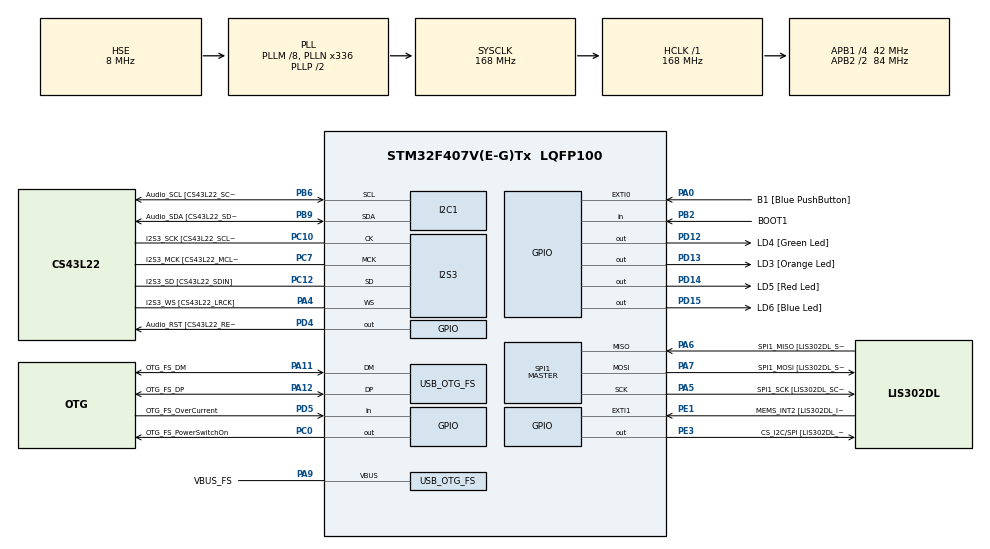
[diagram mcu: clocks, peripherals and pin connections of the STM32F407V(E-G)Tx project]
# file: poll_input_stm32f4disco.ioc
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I2S3.AudioFreq-Half_Duplex_Master=I2S_AUDIOFREQ_96K
I2S3.ErrorAudioFreq=-2.34 %
I2S3.ErrorAudioFreq-Half_Duplex_Master=0.8 %
I2S3.FullDuplexMode=I2S_FULLDUPLEXMODE_DISABLE
I2S3.Instance=SPI$Index
I2S3.RealAudioFreq=93.75 KHz
I2S3.RealAudioFreq-Half_Duplex_Master=96.774 KHz
I2S3.VirtualMode=I2S_MODE_MASTER
Mcu.Family=STM32F4
Mcu.Name=STM32F407V(E-G)Tx
Mcu.Package=LQFP100
NVIC.OTG_FS_IRQn=true\:0\:0\:false\:false\:true\:true\:true
NVIC.PriorityGroup=NVIC_PRIORITYGROUP_0
PA0-WKUP.GPIO_Label=B1 [Blue PushButton]
PA0-WKUP.GPIO_ModeDefaultEXTI=GPIO_MODE_EVT_RISING
PA0-WKUP.GPIO_PuPd=GPIO_NOPULL
PA0-WKUP.Signal=GPXTI0
PA10.GPIO_Label=OTG_FS_ID
PA10.GPIO_Mode=GPIO_MODE_AF_PP
PA10.GPIO_PuPd=GPIO_NOPULL
PA10.GPIO_Speed=GPIO_SPEED_FREQ_LOW
PA10.Signal=USB_OTG_FS_ID
PA11.GPIO_Label=OTG_FS_DM
PA11.GPIO_Mode=GPIO_MODE_AF_PP
PA11.GPIO_PuPd=GPIO_NOPULL
PA11.GPIO_Speed=GPIO_SPEED_FREQ_LOW
PA11.Mode=Host_Only
PA11.Signal=USB_OTG_FS_DM
PA12.GPIO_Label=OTG_FS_DP
PA12.GPIO_Mode=GPIO_MODE_AF_PP
PA12.GPIO_PuPd=GPIO_NOPULL
PA12.GPIO_Speed=GPIO_SPEED_FREQ_LOW
PA12.Mode=Host_Only
PA12.Signal=USB_OTG_FS_DP
PA13.GPIO_Label=SWDIO
PA13.Mode=Serial_Wire
PA13.Signal=SYS_JTMS-SWDIO
PA14.GPIO_Label=SWCLK
PA14.Mode=Serial_Wire
PA14.Signal=SYS_JTCK-SWCLK
PA4.GPIO_Label=I2S3_WS [CS43L22_LRCK]
PA4.GPIO_Mode=GPIO_MODE_AF_PP
PA4.GPIO_PuPd=GPIO_NOPULL
PA4.GPIO_Speed=GPIO_SPEED_FREQ_LOW
PA4.Mode=Half_Duplex_Master
PA4.Signal=I2S3_WS
PA5.GPIO_Label=SPI1_SCK [LIS302DL_SCL/SPC]
PA5.GPIO_Mode=GPIO_MODE_AF_PP
PA5.GPIO_PuPd=GPIO_NOPULL
PA5.GPIO_Speed=GPIO_SPEED_FREQ_LOW
PA5.Mode=Full_Duplex_Master
PA5.Signal=SPI1_SCK
PA6.GPIO_Label=SPI1_MISO [LIS302DL_SDO]
PA6.GPIO_Mode=GPIO_MODE_AF_PP
PA6.GPIO_PuPd=GPIO_NOPULL
PA6.GPIO_Speed=GPIO_SPEED_FREQ_LOW
PA6.Mode=Full_Duplex_Master
PA6.Signal=SPI1_MISO
PA7.GPIO_Label=SPI1_MOSI [LIS302DL_SDA/SDI/SDO]
PA7.GPIO_Mode=GPIO_MODE_AF_PP
PA7.GPIO_PuPd=GPIO_NOPULL
PA7.GPIO_Speed=GPIO_SPEED_FREQ_LOW
PA7.Mode=Full_Duplex_Master
PA7.Signal=SPI1_MOSI
PA9.GPIO_Label=VBUS_FS
PA9.GPIO_Mode=GPIO_MODE_INPUT
PA9.GPIO_PuPd=GPIO_NOPULL
PA9.Mode=Activate_VBUS
PA9.Signal=USB_OTG_FS_VBUS
PB10.GPIO_Label=CLK_IN [MP45DT02_CLK]
PB10.GPIO_Mode=GPIO_MODE_AF_PP
PB10.GPIO_PuPd=GPIO_NOPULL
PB10.GPIO_Speed=GPIO_SPEED_FREQ_LOW
PB10.Signal=I2S2_CK
PB2.GPIO_Label=BOOT1
PB2.GPIO_Mode=GPIO_MODE_INPUT
PB2.GPIO_PuPd=GPIO_NOPULL
PB2.Signal=GPIO_Input
PB3.GPIO_Label=SWO
PB3.Signal=SYS_JTDO-SWO
PB6.GPIO_Label=Audio_SCL [CS43L22_SCL]
PB6.GPIO_Mode=GPIO_MODE_AF_OD
PB6.GPIO_Pu=GPIO_PULLUP
PB6.GPIO_PuPd=GPIO_NOPULL
PB6.GPIO_Speed=GPIO_SPEED_FREQ_LOW
PB6.Mode=I2C
PB6.Signal=I2C1_SCL
PB9.GPIO_Label=Audio_SDA [CS43L22_SDA]
PB9.GPIO_Mode=GPIO_MODE_AF_OD
PB9.GPIO_Pu=GPIO_PULLUP
PB9.GPIO_PuPd=GPIO_NOPULL
PB9.GPIO_Speed=GPIO_SPEED_FREQ_LOW
PB9.Mode=I2C
PB9.Signal=I2C1_SDA
PC0.GPIO_Label=OTG_FS_PowerSwitchOn
PC0.GPIO_PuPd=GPIO_NOPULL
PC0.GPIO_Speed=GPIO_SPEED_FREQ_LOW
PC0.PinState=GPIO_PIN_SET
PC0.Signal=GPIO_Output
PC10.GPIO_Label=I2S3_SCK [CS43L22_SCLK]
PC10.GPIO_Mode=GPIO_MODE_AF_PP
PC10.GPIO_PuPd=GPIO_NOPULL
PC10.GPIO_Speed=GPIO_SPEED_FREQ_LOW
PC10.Mode=Half_Duplex_Master
PC10.Signal=I2S3_CK
PC12.GPIO_Label=I2S3_SD [CS43L22_SDIN]
PC12.GPIO_Mode=GPIO_MODE_AF_PP
PC12.GPIO_PuPd=GPIO_NOPULL
PC12.GPIO_Speed=GPIO_SPEED_FREQ_LOW
PC12.Mode=Half_Duplex_Master
PC12.Signal=I2S3_SD
PC14-OSC32_IN.GPIO_Label=PC14-OSC32_IN
PC14-OSC32_IN.Mode=LSE-External-Oscillator
PC14-OSC32_IN.Signal=RCC_OSC32_IN
PC15-OSC32_OUT.GPIO_Label=PC15-OSC32_OUT
PC15-OSC32_OUT.Mode=LSE-External-Oscillator
PC15-OSC32_OUT.Signal=RCC_OSC32_OUT
PC3.GPIO_Label=PDM_OUT [MP45DT02_DOUT]
PC3.GPIO_Mode=GPIO_MODE_AF_PP
PC3.GPIO_PuPd=GPIO_NOPULL
PC3.GPIO_Speed=GPIO_SPEED_FREQ_LOW
PC3.Signal=I2S2_SD
PC7.GPIO_Label=I2S3_MCK [CS43L22_MCLK]
PC7.GPIO_Mode=GPIO_MODE_AF_PP
PC7.GPIO_PuPd=GPIO_NOPULL
PC7.GPIO_Speed=GPIO_SPEED_FREQ_LOW
PC7.Mode=Master_Clock_Activated
PC7.Signal=I2S3_MCK
PD12.GPIO_Label=LD4 [Green Led]
PD12.GPIO_PuPd=GPIO_NOPULL
PD12.GPIO_Speed=GPIO_SPEED_FREQ_LOW
PD12.Signal=GPIO_Output
PD13.GPIO_Label=LD3 [Orange Led]
PD13.GPIO_PuPd=GPIO_NOPULL
PD13.GPIO_Speed=GPIO_SPEED_FREQ_LOW
PD13.Signal=GPIO_Output
PD14.GPIO_Label=LD5 [Red Led]
PD14.GPIO_PuPd=GPIO_NOPULL
PD14.GPIO_Speed=GPIO_SPEED_FREQ_LOW
PD14.Signal=GPIO_Output
PD15.GPIO_Label=LD6 [Blue Led]
PD15.GPIO_PuPd=GPIO_NOPULL
PD15.GPIO_Speed=GPIO_SPEED_FREQ_LOW
PD15.Signal=GPIO_Output
PD4.GPIO_Label=Audio_RST [CS43L22_RESET]
PD4.GPIO_PuPd=GPIO_NOPULL
PD4.GPIO_Speed=GPIO_SPEED_FREQ_LOW
PD4.Signal=GPIO_Output
PD5.GPIO_Label=OTG_FS_OverCurrent
PD5.GPIO_Mode=GPIO_MODE_INPUT
PD5.GPIO_PuPd=GPIO_NOPULL
PD5.Signal=GPIO_Input
PE1.GPIO_Label=MEMS_INT2 [LIS302DL_INT2]
PE1.GPIO_ModeDefaultEXTI=GPIO_MODE_EVT_RISING
PE1.GPIO_PuPd=GPIO_NOPULL
PE1.Signal=GPXTI1
PE3.GPIO_Label=CS_I2C/SPI [LIS302DL_CS_I2C/SPI]
PE3.GPIO_PuPd=GPIO_NOPULL
PE3.GPIO_Speed=GPIO_SPEED_FREQ_LOW
PE3.Signal=GPIO_Output
PH0-OSC_IN.GPIO_Label=PH0-OSC_IN
PH0-OSC_IN.Mode=HSE-External-Oscillator
PH0-OSC_IN.Signal=RCC_OSC_IN
PH1-OSC_OUT.GPIO_Label=PH1-OSC_OUT
PH1-OSC_OUT.Mode=HSE-External-Oscillator
PH1-OSC_OUT.Signal=RCC_OSC_OUT
ProjectManager.HeapSize=0x200
ProjectManager.StackSize=0x400
ProjectManager.TargetToolchain=STM32CubeIDE
RCC.48MHZClocksFreq_Value=48000000
RCC.AHBFreq_Value=168000000
RCC.APB1CLKDivider=RCC_HCLK_DIV4
RCC.APB1Freq_Value=42000000
RCC.APB1TimFreq_Value=84000000
RCC.APB2CLKDivider=RCC_HCLK_DIV2
RCC.APB2Freq_Value=84000000
RCC.APB2TimFreq_Value=168000000
RCC.CortexFreq_Value=168000000
RCC.HCLKFreq_Value=168000000
RCC.HSE_VALUE=8000000
RCC.HSI_VALUE=16000000
RCC.PLLM=8
RCC.PLLN=336
RCC.PLLQ=7
RCC.SYSCLKFreq_VALUE=168000000
RCC.SYSCLKSource=RCC_SYSCLKSOURCE_PLLCLK
RCC.VCOOutputFreq_Value=336000000
SPI1.BaudRatePrescaler-Full_Duplex_Master=SPI_BAUDRATEPRESCALER_2
SPI1.CalculateBaudRate-Full_Duplex_Master=42.0 MBits/s
SPI1.Direction=SPI_DIRECTION_2LINES
SPI1.Mode=SPI_MODE_MASTER
SPI1.Mode-Full_Duplex_Master=SPI_MODE_MASTER
SPI1.VirtualType=VM_MASTER
USB_HOST.BSP.number=1
USB_HOST.USBH_HandleTypeDef-CDC_FS=hUsbHostFS
USB_HOST.VirtualModeFS=Cdc
USB_HOST0.BSP.STBoard=false
USB_HOST0.BSP.api=Unknown
USB_HOST0.BSP.i2caddr=0
USB_HOST0.BSP.i2creg=0
USB_HOST0.BSP.instance=PC0
USB_HOST0.BSP.ip=GPIO
USB_HOST0.BSP.mode=Output
USB_HOST0.BSP.name=Drive_VBUS_FS
USB_HOST0.BSP.solution=PC0
USB_OTG_FS.VirtualMode=Host_Only
USB_OTG_FS.phy_itface=HCD_PHY_EMBEDDED
VP_USB_HOST_VS_USB_HOST_CDC_FS.Mode=CDC_FS
board=STM32F407G-DISC1

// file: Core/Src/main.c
/* USER CODE BEGIN Header */
/**
  ******************************************************************************
  * @file           : main.c
  * @brief          : Main program body
  ******************************************************************************
  * @attention
  *
  * Copyright (c) 2021 STMicroelectronics.
  * All rights reserved.
  *
  * This software is licensed under terms that can be found in the LICENSE file
  * in the root directory of this software component.
  * If no LICENSE file comes with this software, it is provided AS-IS.
  *
  ******************************************************************************
  */
/* USER CODE END Header */
#include "main.h"
#include "usb_host.h"
#include "stm32f4_discovery.h"
#include "systick_timer.h"

I2C_HandleTypeDef hi2c1;

I2S_HandleTypeDef hi2s3;

SPI_HandleTypeDef hspi1;

void SystemClock_Config(void);
static void MX_GPIO_Init(void);
static void MX_I2C1_Init(void);
static void MX_I2S3_Init(void);
static void MX_SPI1_Init(void);
void MX_USB_HOST_Process(void);

/* USER CODE BEGIN 0 */
SYSTick_Timer_t  timer_1 , timer_2;
/* USER CODE END 0 */

int main(void)
{

  /* MCU Configuration--------------------------------------------------------*/

  /* Reset of all peripherals, Initializes the Flash interface and the Systick. */
  HAL_Init();

  /* Configure the system clock */
  SystemClock_Config();

  /* Initialize all configured peripherals */
  MX_GPIO_Init();
  MX_I2C1_Init();
  MX_I2S3_Init();
  MX_SPI1_Init();
  MX_USB_HOST_Init();

  /* Infinite loop */
  /* USER CODE BEGIN WHILE */
  BSP_LED_Init(LED4);
  BSP_LED_Init(LED3);
  BSP_LED_Init(LED5);
  BSP_LED_Init(LED6);
  BSP_PB_Init(BUTTON_KEY, BUTTON_MODE_GPIO);
  start_systick_timer(&timer_1, 500);
  start_systick_timer(&timer_2, 100);
  while (1)
  {
    if(Timer_Expired == get_systick_timer(&timer_1))
    {
      BSP_LED_Toggle(LED4);
      start_systick_timer(&timer_1, 500);
    }
    if(Timer_Expired == get_systick_timer(&timer_2))
    {
      BSP_LED_Toggle(LED5);
      start_systick_timer(&timer_2, 700);
    }
    if(BSP_PB_GetState(BUTTON_KEY))
    { // BUTTON_KEY pressed
      BSP_LED_On(LED6);
    }
    else
    { // BUTTON_KEY released
      BSP_LED_Off(LED6);
    }
    /* USER CODE END WHILE */
    MX_USB_HOST_Process();

  }
}

void SystemClock_Config(void)
{
  RCC_OscInitTypeDef RCC_OscInitStruct = {0};
  RCC_ClkInitTypeDef RCC_ClkInitStruct = {0};

  /** Configure the main internal regulator output voltage
  */
  __HAL_RCC_PWR_CLK_ENABLE();
  __HAL_PWR_VOLTAGESCALING_CONFIG(PWR_REGULATOR_VOLTAGE_SCALE1);
  /** Initializes the RCC Oscillators according to the specified parameters
  * in the RCC_OscInitTypeDef structure.
  */
  RCC_OscInitStruct.OscillatorType = RCC_OSCILLATORTYPE_HSE;
  RCC_OscInitStruct.HSEState = RCC_HSE_ON;
  RCC_OscInitStruct.PLL.PLLState = RCC_PLL_ON;
  RCC_OscInitStruct.PLL.PLLSource = RCC_PLLSOURCE_HSE;
  RCC_OscInitStruct.PLL.PLLM = 8;
  RCC_OscInitStruct.PLL.PLLN = 336;
  RCC_OscInitStruct.PLL.PLLP = RCC_PLLP_DIV2;
  RCC_OscInitStruct.PLL.PLLQ = 7;
  if (HAL_RCC_OscConfig(&RCC_OscInitStruct) != HAL_OK)
  {
    Error_Handler();
  }
  /** Initializes the CPU, AHB and APB buses clocks
  */
  RCC_ClkInitStruct.ClockType = RCC_CLOCKTYPE_HCLK|RCC_CLOCKTYPE_SYSCLK
                              |RCC_CLOCKTYPE_PCLK1|RCC_CLOCKTYPE_PCLK2;
  RCC_ClkInitStruct.SYSCLKSource = RCC_SYSCLKSOURCE_PLLCLK;
  RCC_ClkInitStruct.AHBCLKDivider = RCC_SYSCLK_DIV1;
  RCC_ClkInitStruct.APB1CLKDivider = RCC_HCLK_DIV4;
  RCC_ClkInitStruct.APB2CLKDivider = RCC_HCLK_DIV2;

  if (HAL_RCC_ClockConfig(&RCC_ClkInitStruct, FLASH_LATENCY_5) != HAL_OK)
  {
    Error_Handler();
  }
}

static void MX_I2C1_Init(void)
{

  hi2c1.Instance = I2C1;
  hi2c1.Init.ClockSpeed = 100000;
  hi2c1.Init.DutyCycle = I2C_DUTYCYCLE_2;
  hi2c1.Init.OwnAddress1 = 0;
  hi2c1.Init.AddressingMode = I2C_ADDRESSINGMODE_7BIT;
  hi2c1.Init.DualAddressMode = I2C_DUALADDRESS_DISABLE;
  hi2c1.Init.OwnAddress2 = 0;
  hi2c1.Init.GeneralCallMode = I2C_GENERALCALL_DISABLE;
  hi2c1.Init.NoStretchMode = I2C_NOSTRETCH_DISABLE;
  if (HAL_I2C_Init(&hi2c1) != HAL_OK)
  {
    Error_Handler();
  }

}

static void MX_I2S3_Init(void)
{

  hi2s3.Instance = SPI3;
  hi2s3.Init.Mode = I2S_MODE_MASTER_TX;
  hi2s3.Init.Standard = I2S_STANDARD_PHILIPS;
  hi2s3.Init.DataFormat = I2S_DATAFORMAT_16B;
  hi2s3.Init.MCLKOutput = I2S_MCLKOUTPUT_ENABLE;
  hi2s3.Init.AudioFreq = I2S_AUDIOFREQ_96K;
  hi2s3.Init.CPOL = I2S_CPOL_LOW;
  hi2s3.Init.ClockSource = I2S_CLOCK_PLL;
  hi2s3.Init.FullDuplexMode = I2S_FULLDUPLEXMODE_DISABLE;
  if (HAL_I2S_Init(&hi2s3) != HAL_OK)
  {
    Error_Handler();
  }

}

static void MX_SPI1_Init(void)
{

  /* SPI1 parameter configuration*/
  hspi1.Instance = SPI1;
  hspi1.Init.Mode = SPI_MODE_MASTER;
  hspi1.Init.Direction = SPI_DIRECTION_2LINES;
  hspi1.Init.DataSize = SPI_DATASIZE_8BIT;
  hspi1.Init.CLKPolarity = SPI_POLARITY_LOW;
  hspi1.Init.CLKPhase = SPI_PHASE_1EDGE;
  hspi1.Init.NSS = SPI_NSS_SOFT;
  hspi1.Init.BaudRatePrescaler = SPI_BAUDRATEPRESCALER_2;
  hspi1.Init.FirstBit = SPI_FIRSTBIT_MSB;
  hspi1.Init.TIMode = SPI_TIMODE_DISABLE;
  hspi1.Init.CRCCalculation = SPI_CRCCALCULATION_DISABLE;
  hspi1.Init.CRCPolynomial = 10;
  if (HAL_SPI_Init(&hspi1) != HAL_OK)
  {
    Error_Handler();
  }

}

static void MX_GPIO_Init(void)
{
  GPIO_InitTypeDef GPIO_InitStruct = {0};

  /* GPIO Ports Clock Enable */
  __HAL_RCC_GPIOE_CLK_ENABLE();
  __HAL_RCC_GPIOC_CLK_ENABLE();
  __HAL_RCC_GPIOH_CLK_ENABLE();
  __HAL_RCC_GPIOA_CLK_ENABLE();
  __HAL_RCC_GPIOB_CLK_ENABLE();
  __HAL_RCC_GPIOD_CLK_ENABLE();

  /*Configure GPIO pin Output Level */
  HAL_GPIO_WritePin(CS_I2C_SPI_GPIO_Port, CS_I2C_SPI_Pin, GPIO_PIN_RESET);

  /*Configure GPIO pin Output Level */
  HAL_GPIO_WritePin(OTG_FS_PowerSwitchOn_GPIO_Port, OTG_FS_PowerSwitchOn_Pin, GPIO_PIN_SET);

  /*Configure GPIO pin Output Level */
  HAL_GPIO_WritePin(GPIOD, LD4_Pin|LD3_Pin|LD5_Pin|LD6_Pin
                          |Audio_RST_Pin, GPIO_PIN_RESET);

  /*Configure GPIO pin : CS_I2C_SPI_Pin */
  GPIO_InitStruct.Pin = CS_I2C_SPI_Pin;
  GPIO_InitStruct.Mode = GPIO_MODE_OUTPUT_PP;
  GPIO_InitStruct.Pull = GPIO_NOPULL;
  GPIO_InitStruct.Speed = GPIO_SPEED_FREQ_LOW;
  HAL_GPIO_Init(CS_I2C_SPI_GPIO_Port, &GPIO_InitStruct);

  /*Configure GPIO pin : OTG_FS_PowerSwitchOn_Pin */
  GPIO_InitStruct.Pin = OTG_FS_PowerSwitchOn_Pin;
  GPIO_InitStruct.Mode = GPIO_MODE_OUTPUT_PP;
  GPIO_InitStruct.Pull = GPIO_NOPULL;
  GPIO_InitStruct.Speed = GPIO_SPEED_FREQ_LOW;
  HAL_GPIO_Init(OTG_FS_PowerSwitchOn_GPIO_Port, &GPIO_InitStruct);

  /*Configure GPIO pin : PDM_OUT_Pin */
  GPIO_InitStruct.Pin = PDM_OUT_Pin;
  GPIO_InitStruct.Mode = GPIO_MODE_AF_PP;
  GPIO_InitStruct.Pull = GPIO_NOPULL;
  GPIO_InitStruct.Speed = GPIO_SPEED_FREQ_LOW;
  GPIO_InitStruct.Alternate = GPIO_AF5_SPI2;
  HAL_GPIO_Init(PDM_OUT_GPIO_Port, &GPIO_InitStruct);

  /*Configure GPIO pin : B1_Pin */
  GPIO_InitStruct.Pin = B1_Pin;
  GPIO_InitStruct.Mode = GPIO_MODE_EVT_RISING;
  GPIO_InitStruct.Pull = GPIO_NOPULL;
  HAL_GPIO_Init(B1_GPIO_Port, &GPIO_InitStruct);

  /*Configure GPIO pin : BOOT1_Pin */
  GPIO_InitStruct.Pin = BOOT1_Pin;
  GPIO_InitStruct.Mode = GPIO_MODE_INPUT;
  GPIO_InitStruct.Pull = GPIO_NOPULL;
  HAL_GPIO_Init(BOOT1_GPIO_Port, &GPIO_InitStruct);

  /*Configure GPIO pin : CLK_IN_Pin */
  GPIO_InitStruct.Pin = CLK_IN_Pin;
  GPIO_InitStruct.Mode = GPIO_MODE_AF_PP;
  GPIO_InitStruct.Pull = GPIO_NOPULL;
  GPIO_InitStruct.Speed = GPIO_SPEED_FREQ_LOW;
  GPIO_InitStruct.Alternate = GPIO_AF5_SPI2;
  HAL_GPIO_Init(CLK_IN_GPIO_Port, &GPIO_InitStruct);

  /*Configure GPIO pins : LD4_Pin LD3_Pin LD5_Pin LD6_Pin
                           Audio_RST_Pin */
  GPIO_InitStruct.Pin = LD4_Pin|LD3_Pin|LD5_Pin|LD6_Pin
                          |Audio_RST_Pin;
  GPIO_InitStruct.Mode = GPIO_MODE_OUTPUT_PP;
  GPIO_InitStruct.Pull = GPIO_NOPULL;
  GPIO_InitStruct.Speed = GPIO_SPEED_FREQ_LOW;
  HAL_GPIO_Init(GPIOD, &GPIO_InitStruct);

  /*Configure GPIO pin : OTG_FS_OverCurrent_Pin */
  GPIO_InitStruct.Pin = OTG_FS_OverCurrent_Pin;
  GPIO_InitStruct.Mode = GPIO_MODE_INPUT;
  GPIO_InitStruct.Pull = GPIO_NOPULL;
  HAL_GPIO_Init(OTG_FS_OverCurrent_GPIO_Port, &GPIO_InitStruct);

  /*Configure GPIO pin : MEMS_INT2_Pin */
  GPIO_InitStruct.Pin = MEMS_INT2_Pin;
  GPIO_InitStruct.Mode = GPIO_MODE_EVT_RISING;
  GPIO_InitStruct.Pull = GPIO_NOPULL;
  HAL_GPIO_Init(MEMS_INT2_GPIO_Port, &GPIO_InitStruct);

}

void Error_Handler(void)
{
  __disable_irq();
  while (1)
  {
  }
}
